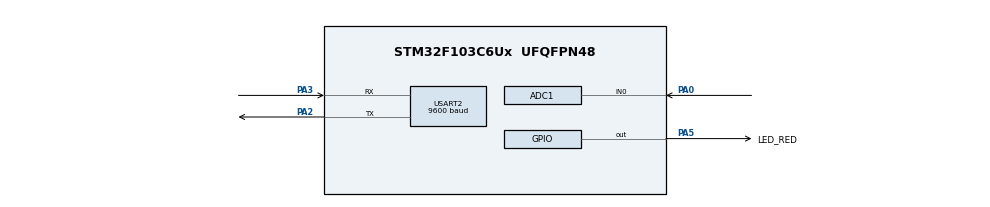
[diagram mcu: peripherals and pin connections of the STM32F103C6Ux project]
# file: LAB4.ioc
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ADC1.Channel-0\#ChannelRegularConversion=ADC_CHANNEL_0
ADC1.ContinuousConvMode=ENABLE
ADC1.NbrOfConversionFlag=1
ADC1.Rank-0\#ChannelRegularConversion=1
ADC1.SamplingTime-0\#ChannelRegularConversion=ADC_SAMPLETIME_1CYCLE_5
ADC1.master=1
Mcu.Family=STM32F1
Mcu.Name=STM32F103C6Ux
Mcu.Package=UFQFPN48
NVIC.PriorityGroup=NVIC_PRIORITYGROUP_4
NVIC.TIM2_IRQn=true\:0\:0\:false\:false\:true\:true\:true
NVIC.USART2_IRQn=true\:0\:0\:false\:false\:true\:true\:true
PA0-WKUP.Signal=ADCx_IN0
PA2.Mode=Asynchronous
PA2.Signal=USART2_TX
PA3.Mode=Asynchronous
PA3.Signal=USART2_RX
PA5.GPIO_Label=LED_RED
PA5.Signal=GPIO_Output
ProjectManager.HeapSize=0x200
ProjectManager.StackSize=0x400
ProjectManager.TargetToolchain=STM32CubeIDE
RCC.APB1Freq_Value=8000000
RCC.APB2Freq_Value=8000000
SH.ADCx_IN0.0=ADC1_IN0,IN0
TIM2.Period=9
TIM2.Prescaler=7999
USART2.BaudRate=9600
USART2.VirtualMode=VM_ASYNC
VP_SYS_VS_ND.Mode=No_Debug
VP_TIM2_VS_ClockSourceINT.Mode=Internal
board=custom

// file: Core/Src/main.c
/* USER CODE BEGIN Header */
/**
  ******************************************************************************
  * @file           : main.c
  * @brief          : Main program body
  ******************************************************************************
  * @attention
  *
  * <h2><center>&copy; Copyright (c) 2023 STMicroelectronics.
  * All rights reserved.</center></h2>
  *
  * This software component is licensed by ST under BSD 3-Clause license,
  * the "License"; You may not use this file except in compliance with the
  * License. You may obtain a copy of the License at:
  *                        opensource.org/licenses/BSD-3-Clause
  *
  ******************************************************************************
  */
/* USER CODE END Header */
#include "main.h"
#include "adc.h"
#include "tim.h"
#include "usart.h"
/* USER CODE BEGIN Includes */
#include "global.h"
#include "led.h"
#include "parser.h"
#include "communication.h"
/* USER CODE END Includes */

ADC_HandleTypeDef hadc1;

TIM_HandleTypeDef htim2;

UART_HandleTypeDef huart2;

void SystemClock_Config(void);
static void MX_GPIO_Init(void);
//static void MX_ADC1_Init(void);
//static void MX_USART2_UART_Init(void);
//static void MX_TIM2_Init(void);

/* USER CODE BEGIN 0 */
void HAL_UART_RxCpltCallback(UART_HandleTypeDef *huart){
	if (huart->Instance == USART2){
		updateBuffer(temp);
		buffer_flag = 1;
		HAL_UART_Transmit(&huart2, &temp, 1, 1000);
		HAL_UART_Receive_IT(&huart2, &temp, 1);
	}
}

void HAL_TIM_PeriodElapsedCallback(TIM_HandleTypeDef* htim) {
    timerRun();
}
/* USER CODE END 0 */

int main(void)
{

  /* MCU Configuration--------------------------------------------------------*/

  /* Reset of all peripherals, Initializes the Flash interface and the Systick. */
  HAL_Init();

  /* Configure the system clock */
  SystemClock_Config();

  /* Initialize all configured peripherals */
  MX_GPIO_Init();
  MX_ADC1_Init();
  MX_USART2_UART_Init();
  MX_TIM2_Init();
  /* USER CODE BEGIN 2 */
  HAL_TIM_Base_Start_IT(&htim2);
  HAL_ADC_Start(&hadc1);
  HAL_UART_Receive_IT(&huart2, &temp, 1);
  /* USER CODE END 2 */

  /* Infinite loop */
  while (1)
  {
	  if (buffer_flag == 1 || checkSYS()){
		  if(buffer_flag == 1){
			  command_parser_fsm();
			  buffer_flag = 0;
		  }
	  }
	  uart_communication_fsm();
	  led_fsm();
  }
}

void SystemClock_Config(void)
{
  RCC_OscInitTypeDef RCC_OscInitStruct = {0};
  RCC_ClkInitTypeDef RCC_ClkInitStruct = {0};
  RCC_PeriphCLKInitTypeDef PeriphClkInit = {0};

  /** Initializes the RCC Oscillators according to the specified parameters
  * in the RCC_OscInitTypeDef structure.
  */
  RCC_OscInitStruct.OscillatorType = RCC_OSCILLATORTYPE_HSI;
  RCC_OscInitStruct.HSIState = RCC_HSI_ON;
  RCC_OscInitStruct.HSICalibrationValue = RCC_HSICALIBRATION_DEFAULT;
  RCC_OscInitStruct.PLL.PLLState = RCC_PLL_NONE;
  if (HAL_RCC_OscConfig(&RCC_OscInitStruct) != HAL_OK)
  {
    Error_Handler();
  }
  /** Initializes the CPU, AHB and APB buses clocks
  */
  RCC_ClkInitStruct.ClockType = RCC_CLOCKTYPE_HCLK|RCC_CLOCKTYPE_SYSCLK
                              |RCC_CLOCKTYPE_PCLK1|RCC_CLOCKTYPE_PCLK2;
  RCC_ClkInitStruct.SYSCLKSource = RCC_SYSCLKSOURCE_HSI;
  RCC_ClkInitStruct.AHBCLKDivider = RCC_SYSCLK_DIV1;
  RCC_ClkInitStruct.APB1CLKDivider = RCC_HCLK_DIV1;
  RCC_ClkInitStruct.APB2CLKDivider = RCC_HCLK_DIV1;

  if (HAL_RCC_ClockConfig(&RCC_ClkInitStruct, FLASH_LATENCY_0) != HAL_OK)
  {
    Error_Handler();
  }
  PeriphClkInit.PeriphClockSelection = RCC_PERIPHCLK_ADC;
  PeriphClkInit.AdcClockSelection = RCC_ADCPCLK2_DIV2;
  if (HAL_RCCEx_PeriphCLKConfig(&PeriphClkInit) != HAL_OK)
  {
    Error_Handler();
  }
}

static void MX_GPIO_Init(void)
{
  GPIO_InitTypeDef GPIO_InitStruct = {0};

  /* GPIO Ports Clock Enable */
  __HAL_RCC_GPIOA_CLK_ENABLE();

  /*Configure GPIO pin Output Level */
  HAL_GPIO_WritePin(LED_RED_GPIO_Port, LED_RED_Pin, GPIO_PIN_RESET);

  /*Configure GPIO pin : LED_RED_Pin */
  GPIO_InitStruct.Pin = LED_RED_Pin;
  GPIO_InitStruct.Mode = GPIO_MODE_OUTPUT_PP;
  GPIO_InitStruct.Pull = GPIO_NOPULL;
  GPIO_InitStruct.Speed = GPIO_SPEED_FREQ_LOW;
  HAL_GPIO_Init(LED_RED_GPIO_Port, &GPIO_InitStruct);

}

void Error_Handler(void)
{
  __disable_irq();
  while (1)
  {
  }
}

/************************ (C) COPYRIGHT STMicroelectronics *****END OF FILE****/
